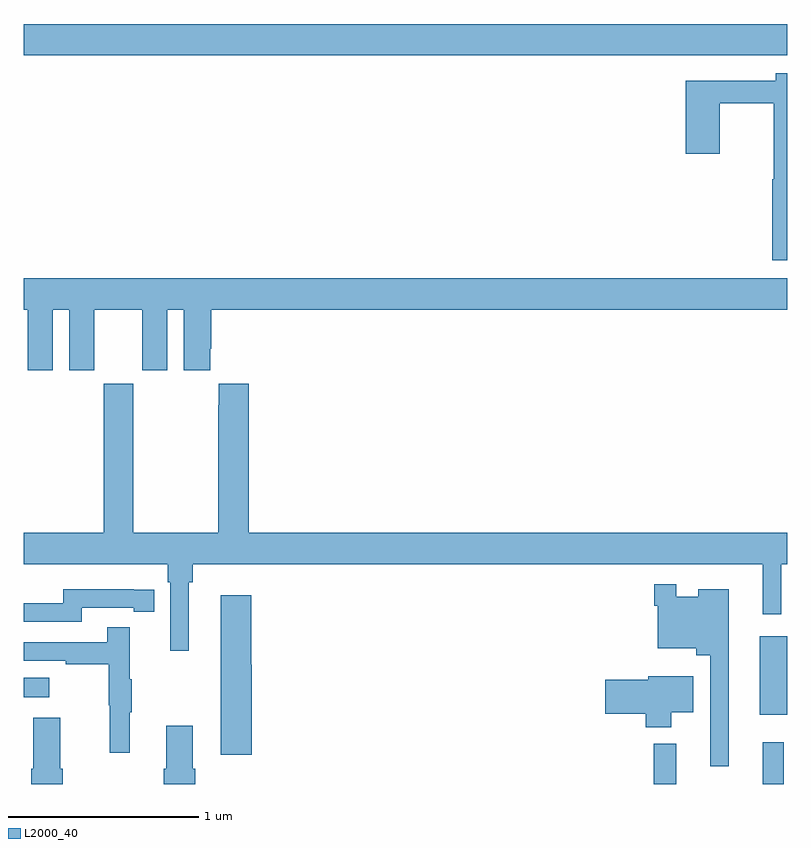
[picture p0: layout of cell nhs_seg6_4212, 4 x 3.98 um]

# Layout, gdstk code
import gdstk
lib = gdstk.Library(unit=1e-6, precision=1e-09)
def R(c, l, rs):  # rectangles x0, y0, x1, y1
    for r in rs: c.add(gdstk.rectangle(r[:2], r[2:], *l))
def P(c, l, *ps):  # polygons
    for p in ps: c.add(gdstk.Polygon(p, *l))
L2000_40 = (2000, 40)

nhs_seg6_4212 = lib.new_cell('nhs_seg6_4212')
R(nhs_seg6_4212, L2000_40, [(362.299,963.5,362.417,963.712), (362.87,963.5,362.98,963.718), (362.855,963.863,363,964.273), (359,963.953,359.134,964.057), (359,967.316,363,967.48)])
P(nhs_seg6_4212, L2000_40, [(363,967.222),(362.939,967.222),(362.939,967.183),(362.468,967.183),(362.468,966.801),(362.646,966.801),(362.646,967.066),(362.928,967.066),(362.928,966.668),(362.92,966.668),(362.92,966.243),(363,966.243)],
  [(359.152,965.984),(359.24,965.984),(359.24,965.667),(359.371,965.667),(359.371,965.984),(359.621,965.984),(359.621,965.667),(359.752,965.667),(359.752,965.984),(359.84,965.984),(359.84,965.667),(359.977,965.667),(359.977,965.779),(359.984,965.779),(359.984,965.984),(363,965.984),(363,966.148),(359,966.148),(359,965.984),(359.021,965.984),(359.021,965.667),(359.152,965.667)],
  [(359.866,964.556),(359.885,964.556),(359.885,964.652),(362.87,964.652),(362.87,964.389),(362.969,964.389),(362.969,964.652),(363,964.652),(363,964.816),(360.179,964.816),(360.179,965.596),(360.023,965.596),(360.023,965.483),(360.019,965.483),(360.019,964.816),(359.574,964.816),(359.574,965.596),(359.419,965.596),(359.419,964.816),(359,964.816),(359,964.652),(359.756,964.652),(359.756,964.556),(359.769,964.556),(359.769,964.197),(359.866,964.197)],
  [(362.692,964.519),(362.534,964.519),(362.534,964.48),(362.418,964.48),(362.418,964.546),(362.302,964.546),(362.302,964.433),(362.322,964.433),(362.322,964.211),(362.522,964.211),(362.522,964.175),(362.595,964.175),(362.595,963.594),(362.692,963.594)],
  [(359.304,964.422),(359.576,964.422),(359.576,964.402),(359.684,964.402),(359.684,964.518),(359.576,964.518),(359.576,964.519),(359.208,964.519),(359.208,964.446),(359,964.446),(359,964.35),(359.304,964.35)],
  [(360.196,964.125),(360.191,964.125),(360.191,964.489),(360.032,964.489),(360.032,963.654),(360.196,963.654)],
  [(359.555,963.875),(359.566,963.875),(359.566,964.049),(359.555,964.049),(359.555,964.321),(359.437,964.321),(359.437,964.242),(359,964.242),(359,964.146),(359.221,964.146),(359.221,964.126),(359.445,964.126),(359.445,963.912),(359.452,963.912),(359.452,963.663),(359.555,963.663)],
  [(362.392,963.875),(362.506,963.875),(362.506,964.063),(362.27,964.063),(362.27,964.046),(362.046,964.046),(362.046,963.868),(362.258,963.868),(362.258,963.797),(362.392,963.797)],
  [(359.204,963.58),(359.191,963.58),(359.191,963.847),(359.051,963.847),(359.051,963.58),(359.039,963.58),(359.039,963.5),(359.204,963.5)],
  [(359.9,963.58),(359.887,963.58),(359.887,963.805),(359.747,963.805),(359.747,963.58),(359.735,963.58),(359.735,963.5),(359.9,963.5)])

lib.write_gds('nhs_seg6_4212.gds')
